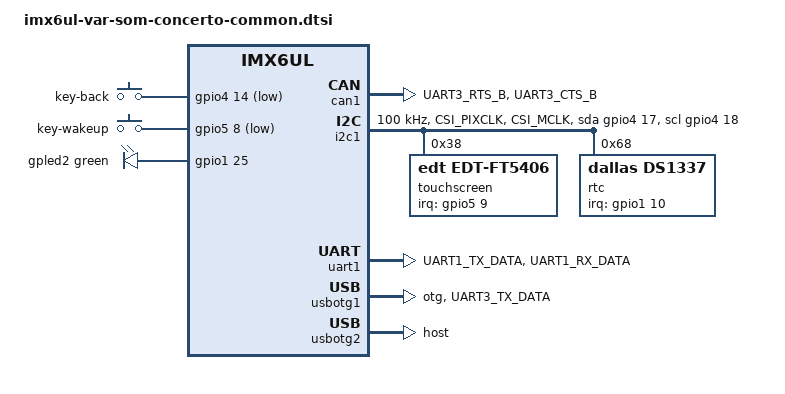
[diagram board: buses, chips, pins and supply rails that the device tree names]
// SPDX-License-Identifier: GPL-2.0+
/*
 * Support for Variscite Concerto Carrier board with the VAR-SOM-6UL
 * Variscite SoM mounted on it (all CPU variants)
 *
 * Copyright 2019 Variscite Ltd.
 * Copyright 2025 Bootlin
 * Copyright (C) 2026 Variscite Ltd.
 */

#include <dt-bindings/leds/common.h>

/ {
	chosen {
		stdout-path = &uart1;
	};

	gpio-keys {
		compatible = "gpio-keys";
		pinctrl-names = "default";
		pinctrl-0 = <&pinctrl_gpio_key_back>, <&pinctrl_gpio_key_wakeup>;

		key-back {
			gpios = <&gpio4 14 GPIO_ACTIVE_LOW>;
			linux,code = <KEY_BACK>;
		};

		key-wakeup {
			gpios = <&gpio5 8 GPIO_ACTIVE_LOW>;
			linux,code = <KEY_WAKEUP>;
			wakeup-source;
		};
	};

	leds {
		compatible = "gpio-leds";
		pinctrl-names = "default";
		pinctrl-0 = <&pinctrl_gpio_leds>;

		led-0 {
			function = LED_FUNCTION_STATUS;
			color = <LED_COLOR_ID_GREEN>;
			label = "gpled2";
			gpios = <&gpio1 25 GPIO_ACTIVE_HIGH>;
			linux,default-trigger = "heartbeat";
		};
	};
};

&can1 {
	pinctrl-names = "default";
	pinctrl-0 = <&pinctrl_flexcan1>;
	status = "okay";
};

&i2c1 {
	clock-frequency = <100000>;
	pinctrl-names = "default", "gpio";
	pinctrl-0 = <&pinctrl_i2c1>;
	pinctrl-1 = <&pinctrl_i2c1_gpio>;
	scl-gpios = <&gpio4 18 (GPIO_ACTIVE_HIGH | GPIO_OPEN_DRAIN)>;
	sda-gpios = <&gpio4 17 (GPIO_ACTIVE_HIGH | GPIO_OPEN_DRAIN)>;
	status = "okay";

	touchscreen@38 {
		compatible = "edt,edt-ft5406";
		reg = <0x38>;
		pinctrl-names = "default";
		pinctrl-0 = <&pinctrl_ft5x06_ts_gpio>;
		interrupt-parent = <&gpio5>;
		interrupts = <9 IRQ_TYPE_EDGE_FALLING>;
		touchscreen-size-x = <800>;
		touchscreen-size-y = <480>;
		touchscreen-inverted-x;
		touchscreen-inverted-y;
		wakeup-source;
	};

	rtc@68 {
		/*
		 * To actually use this interrupt
		 * connect pins J14.8 & J14.10 on the Concerto-Board.
		 */
		compatible = "dallas,ds1337";
		reg = <0x68>;
		pinctrl-names = "default";
		pinctrl-0 = <&pinctrl_rtc>;
		interrupt-parent = <&gpio1>;
		interrupts = <10 IRQ_TYPE_EDGE_FALLING>;
	};
};

&iomuxc {
	pinctrl_flexcan1: flexcan1grp {
		fsl,pins = <
			MX6UL_PAD_UART3_RTS_B__FLEXCAN1_RX	0x1b020
			MX6UL_PAD_UART3_CTS_B__FLEXCAN1_TX	0x1b020
		>;
	};

	pinctrl_gpio_key_back: gpio-key-backgrp {
		fsl,pins = <
			MX6UL_PAD_NAND_CE1_B__GPIO4_IO14	0x17059
		>;
	};

	pinctrl_gpio_leds: gpio-ledsgrp {
		fsl,pins = <
			MX6UL_PAD_UART3_RX_DATA__GPIO1_IO25	0x1b0b0	/* GPLED2 */
		>;
	};

	pinctrl_i2c1: i2c1grp {
		fsl,pins = <
			MX6UL_PAD_CSI_PIXCLK__I2C1_SCL		0x4001b8b0
			MX6UL_PAD_CSI_MCLK__I2C1_SDA		0x4001b8b0
		>;
	};

	pinctrl_i2c1_gpio: i2c1-gpio-grp {
		fsl,pins = <
			MX6UL_PAD_CSI_PIXCLK__GPIO4_IO18	0x1b0b0
			MX6UL_PAD_CSI_MCLK__GPIO4_IO17		0x1b0b0
		>;
	};

	pinctrl_rtc: rtcgrp {
		fsl,pins = <
			MX6UL_PAD_JTAG_MOD__GPIO1_IO10		0x1b0b0 /* RTC alarm IRQ */
		>;
	};

	pinctrl_uart1: uart1grp {
		fsl,pins = <
			MX6UL_PAD_UART1_TX_DATA__UART1_DCE_TX	0x1b0b1
			MX6UL_PAD_UART1_RX_DATA__UART1_DCE_RX	0x1b0b1
		>;
	};

	pinctrl_uart5: uart5grp {
		fsl,pins = <
			MX6UL_PAD_CSI_DATA00__UART5_DCE_TX	0x1b0b1
			MX6UL_PAD_CSI_DATA01__UART5_DCE_RX	0x1b0b1
			MX6UL_PAD_GPIO1_IO09__UART5_DCE_CTS	0x1b0b1
			MX6UL_PAD_GPIO1_IO08__UART5_DCE_RTS	0x1b0b1
		>;
	};

	pinctrl_usb_otg1_id: usbotg1idgrp {
		fsl,pins = <
			MX6UL_PAD_UART3_TX_DATA__ANATOP_OTG1_ID	0x17059
		>;
	};

	pinctrl_wdog: wdoggrp {
		fsl,pins = <
			MX6UL_PAD_GPIO1_IO01__WDOG1_WDOG_B	0x78b0
		>;
	};
};

&snvs_pwrkey {
	status = "disabled";
};

&snvs_rtc {
	status = "disabled";
};

&tsc {
	/*
	 * Conflics with wdog1 ext-reset-output & SD CD pins,
	 * so we keep it disabled by default.
	 */
	status = "disabled";
};

/* Console UART */
&uart1 {
	pinctrl-names = "default";
	pinctrl-0 = <&pinctrl_uart1>;
	status = "okay";
};

&usbotg1 {
	pinctrl-names = "default";
	pinctrl-0 = <&pinctrl_usb_otg1_id>;
	dr_mode = "otg";
	disable-over-current;
	srp-disable;
	hnp-disable;
	adp-disable;
	status = "okay";
};

&usbotg2 {
	dr_mode = "host";
	disable-over-current;
	status = "okay";
};

&wdog1 {
	pinctrl-names = "default";
	pinctrl-0 = <&pinctrl_wdog>;
	/*
	 * To actually use ext-reset-output
	 * connect pins J17.3 & J17.8 on the Concerto-Board
	 */
	fsl,ext-reset-output;
};
